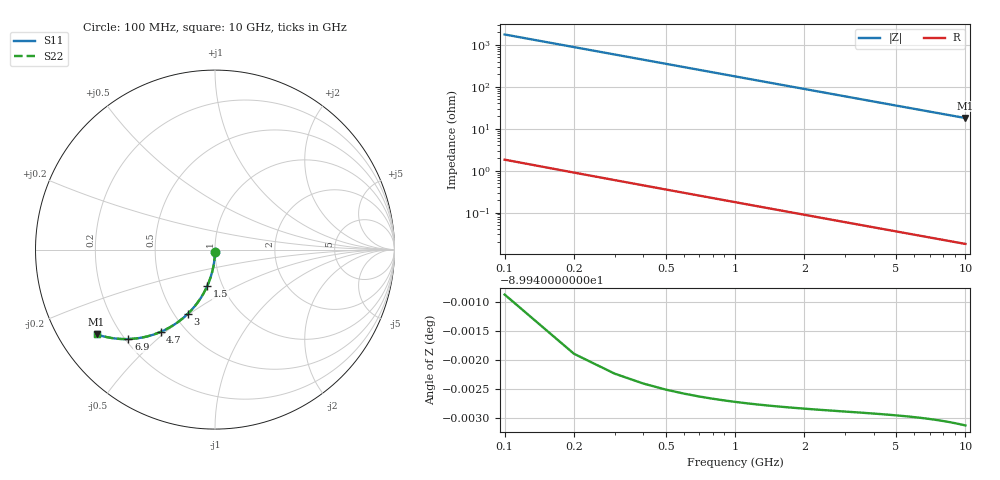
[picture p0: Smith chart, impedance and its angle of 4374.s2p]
# Hz S RI R 50.00
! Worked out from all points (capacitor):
!   100 points, 100 MHz to 10 GHz, reference 50 ohm
!   read as one part in shunt: C = 899 fF near 100 MHz
!   lowest |Z| = 18 ohm at 10 GHz (marker M1)
!   S11 on the Smith chart (normalised r, x): 100 MHz: 1.00, -0.03; 1.5 GHz: 0.85, -0.36; 3 GHz: 0.58, -0.49; 4.7 GHz: 0.37, -0.48; 6.9 GHz: 0.21, -0.41; 10 GHz: 0.11, -0.32
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1e8  -0.00021 -0.0141  0.9998 -0.0141  0.9998 -0.0141  -0.00021 -0.0141
2e8  -0.000822 -0.0282  0.9992 -0.0283  0.9992 -0.0283  -0.000822 -0.0282
3e8  -0.00183 -0.0423  0.9982 -0.0423  0.9982 -0.0423  -0.00183 -0.0423
4e8  -0.00323 -0.0563  0.9968 -0.0564  0.9968 -0.0564  -0.00323 -0.0563
5e8  -0.00503 -0.0702  0.995 -0.0703  0.995 -0.0703  -0.00503 -0.0702
6e8  -0.00721 -0.084  0.9928 -0.0842  0.9928 -0.0842  -0.00721 -0.084
7e8  -0.00977 -0.0978  0.9902 -0.098  0.9902 -0.098  -0.00977 -0.0978
9e8  -0.016 -0.1249  0.984 -0.1251  0.984 -0.1251  -0.016 -0.1249
1.2e9  -0.028 -0.1644  0.972 -0.1647  0.972 -0.1647  -0.028 -0.1644
1.5e9  -0.043 -0.2022  0.957 -0.2026  0.957 -0.2026  -0.043 -0.2022
1.8e9  -0.0607 -0.2381  0.9393 -0.2386  0.9393 -0.2386  -0.0607 -0.2381
2.4e9  -0.1028 -0.3029  0.8972 -0.3035  0.8972 -0.3035  -0.1028 -0.3029
3e9  -0.1515 -0.3576  0.8485 -0.3584  0.8485 -0.3584  -0.1515 -0.3576
3.4e9  -0.1863 -0.3884  0.8137 -0.3893  0.8137 -0.3893  -0.1863 -0.3884
4e9  -0.2402 -0.4262  0.7598 -0.4273  0.7598 -0.4273  -0.2402 -0.4262
4.7e9  -0.3033 -0.4586  0.6967 -0.4598  0.6967 -0.4598  -0.3033 -0.4586
5.1e9  -0.3386 -0.472  0.6614 -0.4734  0.6614 -0.4734  -0.3386 -0.472
5.9e9  -0.4059 -0.4898  0.5941 -0.4914  0.5941 -0.4914  -0.4059 -0.4898
6.7e9  -0.4678 -0.4975  0.5322 -0.4994  0.5322 -0.4994  -0.4678 -0.4975
6.9e9  -0.4823 -0.4982  0.5177 -0.5001  0.5177 -0.5001  -0.4823 -0.4982
8.4e9  -0.579 -0.4921  0.421 -0.4944  0.421 -0.4944  -0.579 -0.4921
1e10  -0.6602 -0.4718  0.3398 -0.4745  0.3398 -0.4745  -0.6602 -0.4718
